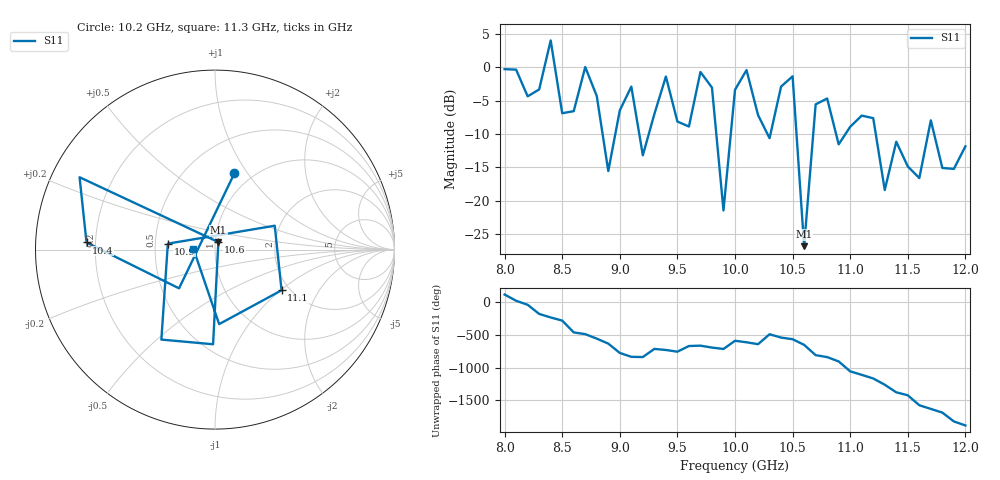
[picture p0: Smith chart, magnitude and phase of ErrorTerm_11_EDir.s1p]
!  1-Port S-parameters saved by WinCal
! VAR NAME=2-Port SOLT labuser 2
! VAR Error Term Name=EDir phys rcv port 1 phys src port 1
# Hz S RI R 50
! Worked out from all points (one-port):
!   41 points, 8 GHz to 12 GHz, reference 50 ohm
!   lowest |S11| = -26.8 dB at 10.6 GHz (marker M1), VSWR 1.10, Z = 51.7 + j4.33 ohm
!   |S11| at or under -10 dB: 8.851 GHz to 8.961 GHz (110.3 MHz wide, 1.24 % of centre); 11.22 GHz to 11.68 GHz (454.2 MHz wide, 3.97 % of centre); 11.73 GHz to end of sweep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
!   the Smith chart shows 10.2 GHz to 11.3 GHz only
!   S11 on the Smith chart (normalised r, x): 10.2 GHz: 0.83, +0.87; 10.4 GHz: 0.16, +0.03; 10.6 GHz: 1.03, +0.09; 10.9 GHz: 0.58, +0.04; 11.1 GHz: 1.81, -1.01; 11.3 GHz: 0.78, +0.01
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8e9  -0.3744 0.8926
8.1e9  0.913 0.2952
8.2e9  0.4424 -0.4141
8.3e9  -0.6816 0.0318
8.4e9  -0.8737 1.325
8.5e9  0.1126 0.4387
8.7e9  -0.6592 -0.7569
8.8e9  -0.5753 0.1999
9e9  0.2558 -0.4006
9.1e9  -0.3226 -0.6399
9.2e9  -0.1099 -0.1897
9.4e9  0.8326 -0.184
9.5e9  0.3068 -0.2445
9.7e9  0.5494 0.7402
9.9e9  0.0846 0.00445
1e10  -0.4164 0.5346
1.02e10  0.1082 0.4253
1.04e10  -0.7158 0.0396
1.05e10  -0.7545 0.4032
1.06e10  0.0188 0.0418
1.07e10  -0.0107 -0.5274
1.09e10  -0.2627 0.0331
1.1e10  0.3328 0.1331
1.11e10  0.3709 -0.2268
1.13e10  -0.1205 0.00479
1.15e10  0.1729 0.0531
1.17e10  -0.393 0.0761
1.2e10  0.0306 -0.254
